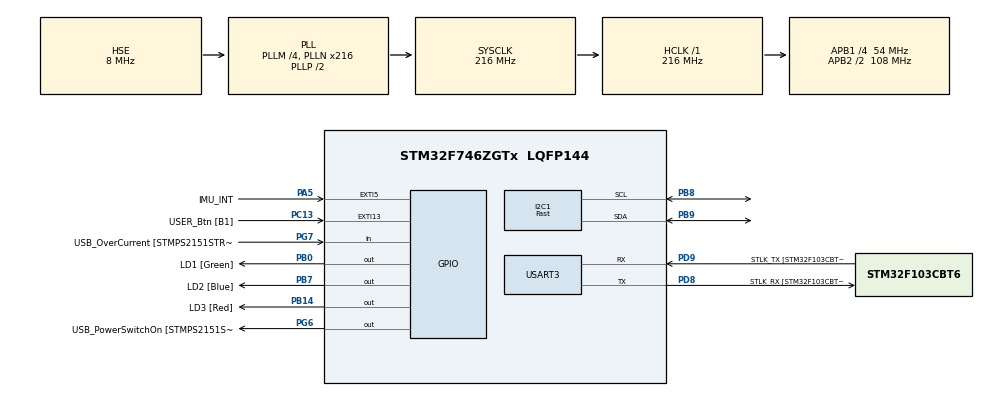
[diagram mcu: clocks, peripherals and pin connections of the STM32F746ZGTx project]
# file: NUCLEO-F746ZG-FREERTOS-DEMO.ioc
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FREERTOS.BinarySemaphores01=Motion_Semaphore,Static,Motion_Semaphore_ControlBlock
FREERTOS.Mutexes01=USART_MUTEX,Static,USART_MUTEXControlBlock
FREERTOS.Queues01=Send_Sensor_Data,16,4,1,Static,Send_Sensor_DataBuffer,Send_Sensor_DataControlBlock
FREERTOS.Tasks01=defaultTask,24,2048,StartDefaultTask,Default,NULL,Dynamic,NULL,NULL;Sender_task,40,128,Start_Sender_task,As external,NULL,Dynamic,NULL,NULL;Reciver_task,48,2048,Start_Reciver_task,Default,NULL,Static,Reciver_taskBuffer,Reciver_taskControlBlock
FREERTOS.Timers01=Check_IMU_Angle_Timer,Check_Angle,osTimerOnce,As external,NULL,Dynamic,NULL
FREERTOS.configENABLE_FPU=1
FREERTOS.configUSE_NEWLIB_REENTRANT=1
I2C1.Analog_Filter=I2C_ANALOGFILTER_DISABLE
I2C1.I2C_Speed_Mode=I2C_Fast
I2C1.Timing=0x00501E63
Mcu.Family=STM32F7
Mcu.Name=STM32F746ZGTx
Mcu.Package=LQFP144
NVIC.EXTI15_10_IRQn=true\:5\:0\:false\:false\:true\:true\:true\:true
NVIC.EXTI9_5_IRQn=true\:5\:0\:false\:false\:true\:true\:true\:true
NVIC.PriorityGroup=NVIC_PRIORITYGROUP_4
NVIC.TIM8_TRG_COM_TIM14_IRQn=true\:15\:0\:false\:false\:true\:false\:false\:true
NVIC.TimeBase=TIM8_TRG_COM_TIM14_IRQn
NVIC.TimeBaseIP=TIM14
PA1.GPIO_Label=RMII_REF_CLK [LAN8742A-CZ-TR_REFCLK0]
PA1.Signal=ETH_REF_CLK
PA10.GPIO_Label=USB_ID
PA10.Signal=USB_OTG_FS_ID
PA11.GPIO_Label=USB_DM
PA11.Signal=USB_OTG_FS_DM
PA12.GPIO_Label=USB_DP
PA12.Signal=USB_OTG_FS_DP
PA13.GPIO_Label=TMS
PA13.Mode=Serial_Wire
PA13.Signal=SYS_JTMS-SWDIO
PA14.GPIO_Label=TCK
PA14.Mode=Serial_Wire
PA14.Signal=SYS_JTCK-SWCLK
PA2.GPIO_Label=RMII_MDIO [LAN8742A-CZ-TR_MDIO]
PA2.Signal=ETH_MDIO
PA5.GPIO_Label=IMU_INT
PA5.GPIO_ModeDefaultEXTI=GPIO_MODE_IT_FALLING
PA5.GPIO_PuPd=GPIO_NOPULL
PA5.Signal=GPXTI5
PA7.GPIO_Label=RMII_CRS_DV [LAN8742A-CZ-TR_CRS_DV]
PA7.Signal=ETH_CRS_DV
PA8.GPIO_Label=USB_SOF [TP1]
PA8.Signal=USB_OTG_FS_SOF
PA9.GPIO_Label=USB_VBUS
PA9.Signal=USB_OTG_FS_VBUS
PB0.GPIO_Label=LD1 [Green]
PB0.Signal=GPIO_Output
PB13.GPIO_Label=RMII_TXD1 [LAN8742A-CZ-TR_TXD1]
PB13.Signal=ETH_TXD1
PB14.GPIO_Label=LD3 [Red]
PB14.Signal=GPIO_Output
PB3.GPIO_Label=SW0
PB3.Signal=SYS_JTDO-SWO
PB7.GPIO_Label=LD2 [Blue]
PB7.Signal=GPIO_Output
PB8.Mode=I2C
PB8.Signal=I2C1_SCL
PB9.Mode=I2C
PB9.Signal=I2C1_SDA
PC1.GPIO_Label=RMII_MDC [LAN8742A-CZ-TR_MDC]
PC1.Signal=ETH_MDC
PC13.GPIO_Label=USER_Btn [B1]
PC13.Signal=GPXTI13
PC14/OSC32_IN.Mode=LSE-External-Oscillator
PC14/OSC32_IN.Signal=RCC_OSC32_IN
PC15/OSC32_OUT.Mode=LSE-External-Oscillator
PC15/OSC32_OUT.Signal=RCC_OSC32_OUT
PC4.GPIO_Label=RMII_RXD0 [LAN8742A-CZ-TR_RXD0]
PC4.Signal=ETH_RXD0
PC5.GPIO_Label=RMII_RXD1 [LAN8742A-CZ-TR_RXD1]
PC5.Signal=ETH_RXD1
PD8.GPIO_Label=STLK_RX [STM32F103CBT6_PA3]
PD8.Mode=Asynchronous
PD8.Signal=USART3_TX
PD9.GPIO_Label=STLK_TX [STM32F103CBT6_PA2]
PD9.Mode=Asynchronous
PD9.Signal=USART3_RX
PG11.GPIO_Label=RMII_TX_EN [LAN8742A-CZ-TR_TXEN]
PG11.Signal=ETH_TX_EN
PG13.GPIO_Label=RMII_TXD0 [LAN8742A-CZ-TR_TXD0]
PG13.Signal=ETH_TXD0
PG6.GPIO_Label=USB_PowerSwitchOn [STMPS2151STR_EN]
PG6.Signal=GPIO_Output
PG7.GPIO_Label=USB_OverCurrent [STMPS2151STR_FAULT]
PG7.Signal=GPIO_Input
PH0/OSC_IN.GPIO_Label=MCO [STM32F103CBT6_PA8]
PH0/OSC_IN.Mode=HSE-External-Clock-Source
PH0/OSC_IN.Signal=RCC_OSC_IN
PH1/OSC_OUT.Mode=HSE-External-Clock-Source
PH1/OSC_OUT.Signal=RCC_OSC_OUT
ProjectManager.HeapSize=0x200
ProjectManager.StackSize=0x400
ProjectManager.TargetToolchain=STM32CubeIDE
RCC.48MHZClocksFreq_Value=24000000
RCC.AHBFreq_Value=216000000
RCC.APB1CLKDivider=RCC_HCLK_DIV4
RCC.APB1Freq_Value=54000000
RCC.APB1TimFreq_Value=108000000
RCC.APB2CLKDivider=RCC_HCLK_DIV2
RCC.APB2Freq_Value=108000000
RCC.APB2TimFreq_Value=216000000
RCC.CortexFreq_Value=216000000
RCC.HCLKFreq_Value=216000000
RCC.HSE_VALUE=8000000
RCC.HSI_VALUE=16000000
RCC.PLLM=4
RCC.PLLMUL=RCC_PLL_MUL9
RCC.PLLN=216
RCC.PLLQ=9
RCC.PLLSourceVirtual=RCC_PLLSOURCE_HSE
RCC.PRESCALERUSB=RCC_USBCLKSOURCE_PLL_DIV1_5
RCC.SYSCLKFreq_VALUE=216000000
RCC.SYSCLKSource=RCC_SYSCLKSOURCE_PLLCLK
RCC.SYSCLKSourceVirtual=RCC_SYSCLKSOURCE_PLLCLK
RCC.USBFreq_Value=48000000
RCC.VCOOutputFreq_Value=432000000
USART3.VirtualMode-Asynchronous=VM_ASYNC
VP_FREERTOS_VS_CMSIS_V2.Mode=CMSIS_V2
VP_SYS_VS_tim14.Mode=TIM14
board=NUCLEO-F746ZG

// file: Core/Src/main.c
/* USER CODE BEGIN Header */
/**
 ******************************************************************************
 * @file           : main.c
 * @brief          : Main program body
 ******************************************************************************
 * @attention
 *
 * Copyright (c) 2022 STMicroelectronics.
 * All rights reserved.
 *
 * This software is licensed under terms that can be found in the LICENSE file
 * in the root directory of this software component.
 * If no LICENSE file comes with this software, it is provided AS-IS.
 *
 ******************************************************************************
 */
/* USER CODE END Header */
#include "main.h"
#include "cmsis_os.h"
#include "i2c.h"
#include "usart.h"
#include "gpio.h"

/* USER CODE BEGIN Includes */
#include "sender_task.h"
#include <stdio.h>
/* USER CODE END Includes */

/* USER CODE BEGIN PD */
uint32_t counter_disp;
/* USER CODE END PD */

void SystemClock_Config(void);
void MX_FREERTOS_Init(void);

int main(void)
{

  /* MCU Configuration--------------------------------------------------------*/

  /* Reset of all peripherals, Initializes the Flash interface and the Systick. */
  HAL_Init();

  /* Configure the system clock */
  SystemClock_Config();

  /* Initialize all configured peripherals */
  MX_GPIO_Init();
  MX_USART3_UART_Init();
  MX_I2C1_Init();

  /* Init scheduler */
  osKernelInitialize();  /* Call init function for freertos objects (in freertos.c) */
  MX_FREERTOS_Init();
  /* Start scheduler */
  osKernelStart();

  /* We should never get here as control is now taken by the scheduler */
  /* Infinite loop */
	while (1)
	{

	}
}

void SystemClock_Config(void)
{
  RCC_OscInitTypeDef RCC_OscInitStruct = {0};
  RCC_ClkInitTypeDef RCC_ClkInitStruct = {0};

  /** Configure LSE Drive Capability
  */
  HAL_PWR_EnableBkUpAccess();
  /** Configure the main internal regulator output voltage
  */
  __HAL_RCC_PWR_CLK_ENABLE();
  __HAL_PWR_VOLTAGESCALING_CONFIG(PWR_REGULATOR_VOLTAGE_SCALE1);
  /** Initializes the RCC Oscillators according to the specified parameters
  * in the RCC_OscInitTypeDef structure.
  */
  RCC_OscInitStruct.OscillatorType = RCC_OSCILLATORTYPE_HSE;
  RCC_OscInitStruct.HSEState = RCC_HSE_BYPASS;
  RCC_OscInitStruct.PLL.PLLState = RCC_PLL_ON;
  RCC_OscInitStruct.PLL.PLLSource = RCC_PLLSOURCE_HSE;
  RCC_OscInitStruct.PLL.PLLM = 4;
  RCC_OscInitStruct.PLL.PLLN = 216;
  RCC_OscInitStruct.PLL.PLLP = RCC_PLLP_DIV2;
  RCC_OscInitStruct.PLL.PLLQ = 9;
  if (HAL_RCC_OscConfig(&RCC_OscInitStruct) != HAL_OK)
  {
    Error_Handler();
  }
  /** Activate the Over-Drive mode
  */
  if (HAL_PWREx_EnableOverDrive() != HAL_OK)
  {
    Error_Handler();
  }
  /** Initializes the CPU, AHB and APB buses clocks
  */
  RCC_ClkInitStruct.ClockType = RCC_CLOCKTYPE_HCLK|RCC_CLOCKTYPE_SYSCLK
                              |RCC_CLOCKTYPE_PCLK1|RCC_CLOCKTYPE_PCLK2;
  RCC_ClkInitStruct.SYSCLKSource = RCC_SYSCLKSOURCE_PLLCLK;
  RCC_ClkInitStruct.AHBCLKDivider = RCC_SYSCLK_DIV1;
  RCC_ClkInitStruct.APB1CLKDivider = RCC_HCLK_DIV4;
  RCC_ClkInitStruct.APB2CLKDivider = RCC_HCLK_DIV2;

  if (HAL_RCC_ClockConfig(&RCC_ClkInitStruct, FLASH_LATENCY_7) != HAL_OK)
  {
    Error_Handler();
  }
}

void HAL_TIM_PeriodElapsedCallback(TIM_HandleTypeDef *htim)
{
  if (htim->Instance == TIM14) {
    HAL_IncTick();
  }
}

void Error_Handler(void)
{
	__disable_irq();
	while (1)
	{
	}
}

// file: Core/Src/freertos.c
/* USER CODE BEGIN Header */
/**
  ******************************************************************************
  * File Name          : freertos.c
  * Description        : Code for freertos applications
  ******************************************************************************
  * @attention
  *
  * Copyright (c) 2022 STMicroelectronics.
  * All rights reserved.
  *
  * This software is licensed under terms that can be found in the LICENSE file
  * in the root directory of this software component.
  * If no LICENSE file comes with this software, it is provided AS-IS.
  *
  ******************************************************************************
  */
/* USER CODE END Header */

#include "FreeRTOS.h"
#include "task.h"
#include "main.h"
#include "cmsis_os.h"

/* USER CODE BEGIN Includes */
#include "usart.h"
#include <stdio.h>
/* USER CODE END Includes */

typedef StaticTask_t osStaticThreadDef_t;
typedef StaticQueue_t osStaticMessageQDef_t;
typedef StaticSemaphore_t osStaticMutexDef_t;
typedef StaticSemaphore_t osStaticSemaphoreDef_t;

/* Definitions for defaultTask */
osThreadId_t defaultTaskHandle;
const osThreadAttr_t defaultTask_attributes = {
  .name = "defaultTask",
  .stack_size = 2048 * 4,
  .priority = (osPriority_t) osPriorityNormal,
};
/* Definitions for Sender_task */
osThreadId_t Sender_taskHandle;
const osThreadAttr_t Sender_task_attributes = {
  .name = "Sender_task",
  .stack_size = 128 * 4,
  .priority = (osPriority_t) osPriorityHigh,
};
/* Definitions for Reciver_task */
osThreadId_t Reciver_taskHandle;
uint32_t Reciver_taskBuffer[ 2048 ];
osStaticThreadDef_t Reciver_taskControlBlock;
const osThreadAttr_t Reciver_task_attributes = {
  .name = "Reciver_task",
  .cb_mem = &Reciver_taskControlBlock,
  .cb_size = sizeof(Reciver_taskControlBlock),
  .stack_mem = &Reciver_taskBuffer[0],
  .stack_size = sizeof(Reciver_taskBuffer),
  .priority = (osPriority_t) osPriorityRealtime,
};
/* Definitions for Send_Sensor_Data */
osMessageQueueId_t Send_Sensor_DataHandle;
uint8_t Send_Sensor_DataBuffer[ 16 * 4 ];
osStaticMessageQDef_t Send_Sensor_DataControlBlock;
const osMessageQueueAttr_t Send_Sensor_Data_attributes = {
  .name = "Send_Sensor_Data",
  .cb_mem = &Send_Sensor_DataControlBlock,
  .cb_size = sizeof(Send_Sensor_DataControlBlock),
  .mq_mem = &Send_Sensor_DataBuffer,
  .mq_size = sizeof(Send_Sensor_DataBuffer)
};
/* Definitions for Check_IMU_Angle_Timer */
osTimerId_t Check_IMU_Angle_TimerHandle;
const osTimerAttr_t Check_IMU_Angle_Timer_attributes = {
  .name = "Check_IMU_Angle_Timer"
};
/* Definitions for USART_MUTEX */
osMutexId_t USART_MUTEXHandle;
osStaticMutexDef_t USART_MUTEXControlBlock;
const osMutexAttr_t USART_MUTEX_attributes = {
  .name = "USART_MUTEX",
  .cb_mem = &USART_MUTEXControlBlock,
  .cb_size = sizeof(USART_MUTEXControlBlock),
};
/* Definitions for Motion_Semaphore */
osSemaphoreId_t Motion_SemaphoreHandle;
osStaticSemaphoreDef_t Motion_Semaphore_ControlBlock;
const osSemaphoreAttr_t Motion_Semaphore_attributes = {
  .name = "Motion_Semaphore",
  .cb_mem = &Motion_Semaphore_ControlBlock,
  .cb_size = sizeof(Motion_Semaphore_ControlBlock),
};

void StartDefaultTask(void *argument);
extern void Start_Sender_task(void *argument);
void Start_Reciver_task(void *argument);
extern void Check_Angle(void *argument);

void MX_FREERTOS_Init(void); /* (MISRA C 2004 rule 8.1) */

void MX_FREERTOS_Init(void) {
  /* Create the mutex(es) */
  /* creation of USART_MUTEX */
  USART_MUTEXHandle = osMutexNew(&USART_MUTEX_attributes);

  /* Create the semaphores(s) */
  /* creation of Motion_Semaphore */
  Motion_SemaphoreHandle = osSemaphoreNew(1, 1, &Motion_Semaphore_attributes);

  /* Create the timer(s) */
  /* creation of Check_IMU_Angle_Timer */
  Check_IMU_Angle_TimerHandle = osTimerNew(Check_Angle, osTimerOnce, NULL, &Check_IMU_Angle_Timer_attributes);

  /* Create the queue(s) */
  /* creation of Send_Sensor_Data */
  Send_Sensor_DataHandle = osMessageQueueNew (16, 4, &Send_Sensor_Data_attributes);

  /* Create the thread(s) */
  /* creation of defaultTask */
  defaultTaskHandle = osThreadNew(StartDefaultTask, NULL, &defaultTask_attributes);

  /* creation of Sender_task */
  Sender_taskHandle = osThreadNew(Start_Sender_task, NULL, &Sender_task_attributes);

  /* creation of Reciver_task */
  Reciver_taskHandle = osThreadNew(Start_Reciver_task, NULL, &Reciver_task_attributes);

}

void StartDefaultTask(void *argument)
{
  /* USER CODE BEGIN StartDefaultTask */
  char buff[200];

  /* Infinite loop */
  for(;;)
  {
    osDelay(200);

    // To make sure that whole text is send in one go
    osMutexAcquire(USART_MUTEXHandle, osWaitForever);

    // some long action
    for(uint16_t i = 0; i<100; i++)
    {
      uint16_t len =  (uint16_t)sprintf(buff, "Some long text %d ", i);
      HAL_UART_Transmit(&huart3, (uint8_t*)buff, len, 10);
	}

    HAL_UART_Transmit(&huart3, (uint8_t*)"\n", (uint8_t)2, 10);

    osMutexRelease(USART_MUTEXHandle);

    HAL_GPIO_TogglePin(LD1_GPIO_Port, LD1_Pin);

  }
  /* USER CODE END StartDefaultTask */
}

void Start_Reciver_task(void *argument)
{
  /* USER CODE BEGIN Start_Reciver_task */
  char buff[64];

  /* Infinite loop */
  for(;;)
  {
    uint16_t recived_data[2];
    osStatus_t status = osMessageQueueGet(Send_Sensor_DataHandle, &recived_data[0], NULL, osWaitForever);

    if (status == osOK)
    {
      osMutexAcquire(USART_MUTEXHandle, osWaitForever);
	  uint16_t len = (uint16_t)sprintf(buff, "Roll angle = %d\r Pitch angle = %d\r", recived_data[0], recived_data[1]);
	  HAL_UART_Transmit(&huart3, (uint8_t*)buff, len, 10);
	  osMutexRelease(USART_MUTEXHandle);
	}
    else
    {
      Error_Handler();
    }
  }
  /* USER CODE END Start_Reciver_task */
}
